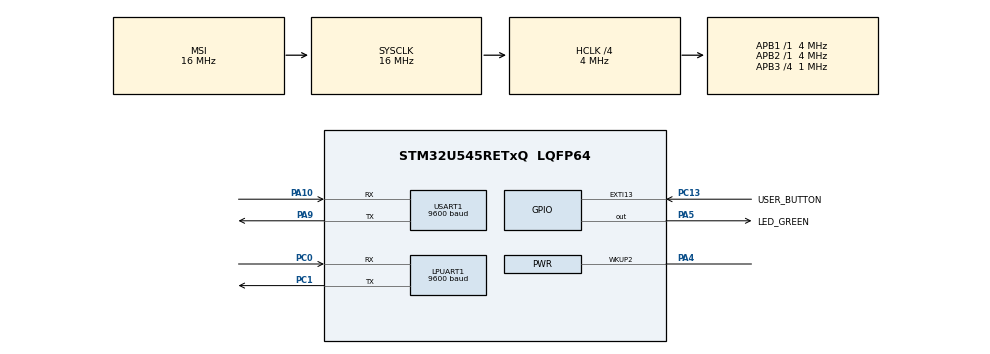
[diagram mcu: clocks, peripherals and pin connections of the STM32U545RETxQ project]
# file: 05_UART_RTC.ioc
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ADC1.Channel-0\#ChannelRegularConversion=ADC_CHANNEL_TEMPSENSOR
ADC1.MonitoredBy-0\#ChannelRegularConversion=__NULL
ADC1.NbrOfConversionFlag=1
ADC1.OffsetNumber-0\#ChannelRegularConversion=ADC_OFFSET_NONE
ADC1.Rank-0\#ChannelRegularConversion=1
ADC1.SamplingTime-0\#ChannelRegularConversion=ADC_SAMPLETIME_12CYCLES
ADC1.master=1
CORTEX_M33_NS.userName=CORTEX_M33
GPDMA1.IPHANDLE_GPDMACH15-SIMPLEREQUEST_GPDMACH15=__NULL
GPDMA1.REQUEST_GPDMACH15=GPDMA1_REQUEST_LPUART1_RX
LPUART1.BaudRate=9600
LPUART1.FIFOMode=UART_FIFOMODE_ENABLE
LPUART1.Mode=UART_MODE_RX
Mcu.Family=STM32U5
Mcu.Name=STM32U545RETxQ
Mcu.Package=LQFP64
NVIC.EXTI13_IRQn=true\:1\:0\:true\:false\:true\:true\:true\:true
NVIC.GPDMA1_Channel15_IRQn=true\:0\:0\:false\:false\:true\:true\:true\:true
NVIC.PWR_S3WU_IRQn=true\:0\:0\:false\:false\:true\:true\:true\:true
NVIC.PriorityGroup=NVIC_PRIORITYGROUP_4
NVIC.RTC_IRQn=true\:0\:0\:false\:false\:true\:true\:true\:true
PA10.Mode=Asynchronous
PA10.Signal=USART1_RX
PA4.Mode=WakeUp2
PA4.Signal=PWR_WKUP2
PA5.GPIO_Label=LED_GREEN
PA5.GPIO_PuPd=GPIO_PULLUP
PA5.GPIO_Speed=GPIO_SPEED_FREQ_HIGH
PA5.Signal=GPIO_Output
PA9.Mode=Asynchronous
PA9.Signal=USART1_TX
PC0.Mode=Asynchronous
PC0.Signal=LPUART1_RX
PC1.Mode=Asynchronous
PC1.Signal=LPUART1_TX
PC13.GPIO_Label=USER_BUTTON
PC13.GPIO_ModeDefaultEXTI=GPIO_MODE_IT_FALLING
PC13.Signal=GPXTI13
PC14-OSC32_IN\ (PC14).Mode=LSE-External-Oscillator
PC14-OSC32_IN\ (PC14).Signal=RCC_OSC32_IN
PC15-OSC32_OUT\ (PC15).Mode=LSE-External-Oscillator
PC15-OSC32_OUT\ (PC15).Signal=RCC_OSC32_OUT
PWR.PowerMode=PWR_SMPS_SUPPLY
ProjectManager.HeapSize=0x200
ProjectManager.StackSize=0x400
ProjectManager.TargetToolchain=STM32CubeIDE
RCC.ADCFreq_Value=16000000
RCC.AHBCLKDivider=RCC_SYSCLK_DIV4
RCC.AHBFreq_Value=4000000
RCC.APB1Freq_Value=4000000
RCC.APB1TimFreq_Value=4000000
RCC.APB2Freq_Value=4000000
RCC.APB2TimFreq_Value=4000000
RCC.APB3CLKDivider=RCC_HCLK_DIV4
RCC.APB3Freq_Value=1000000
RCC.CortexFreq_Value=4000000
RCC.DACCLockSelectionVirtual=RCC_DAC1CLKSOURCE_LSI
RCC.DACCLockSelectionVirtualString=RCC_DAC1CLKSOURCE_LSI
RCC.EPOD_VALUE=16000000
RCC.HCLKFreq_Value=4000000
RCC.HSE_VALUE=16000000
RCC.HSI48_VALUE=48000000
RCC.HSI_VALUE=16000000
RCC.LSIDIV_VALUE=32000
RCC.MSIClockRange=RCC_MSIRANGE_2
RCC.MSI_VALUE=16000000
RCC.PLL1R=1
RCC.PLLFRACN=0
RCC.PLLM=3
RCC.PLLN=8
RCC.RTCClockSelection=RCC_RTCCLKSOURCE_LSE
RCC.SYSCLKFreq_VALUE=16000000
RCC.USBFreq_Value=48000000
RCC.VCOOutputFreq_Value=42666666.666666664
RTC.Alarm-Alarm\ A=RTC_ALARM_A
RTC.AlarmMaskDateWeekDay-Alarm\ A=RTC_ALARMMASK_DATEWEEKDAY
RTC.AlarmMaskHours-Alarm\ A=RTC_ALARMMASK_HOURS
RTC.AlarmMaskMinutes-Alarm\ A=RTC_ALARMMASK_MINUTES
RTC.BinMode=RTC_BINARY_NONE
RTC.Date=26
RTC.Format=RTC_FORMAT_BIN
RTC.Hours=16
RTC.Minutes=30
RTC.Month=RTC_MONTH_JUNE
RTC.Seconds_A-Alarm\ A=15
RTC.WeekDay=RTC_WEEKDAY_WEDNESDAY
RTC.Year=24
RTC.rtcPrivilegeFull=RTC_PRIVILEGE_FULL_YES
USART1.BaudRate=9600
USART1.FIFOMode=FIFOMODE_ENABLE
USART1.VirtualMode-Asynchronous=VM_ASYNC
VP_ADC1_TempSens_Input.Mode=IN-TempSens
VP_GPDMA1_VS_GPDMACH15.Mode=SIMPLEREQUEST_GPDMACH15
VP_ICACHE_VS_ICACHE.Mode=DirectMappedCache
VP_LPBAMQUEUE_VS_QUEUE.Mode=QUEUEMODE
VP_LPBAM_VS_SIG1.Mode=SmartRun
VP_LPBAM_VS_SIG4.Mode=LPDMA1
VP_MEMORYMAP_VS_MEMORYMAP.Mode=CurAppReg
VP_PWR_VS_DBSignals.Mode=DisableDeadBatterySignals
VP_PWR_VS_LPOM.Mode=PowerOptimisation
VP_PWR_VS_SECSignals.Mode=Security/Privilege
VP_PWR_Vdda.Mode=isolationVdda
VP_RTC_VS_RTC_Activate.Mode=RTC_Enabled
VP_RTC_VS_RTC_Alarm_A_Intern.Mode=Alarm A
VP_RTC_VS_RTC_Calendar.Mode=RTC_Calendar
board=NUCLEO-U545RE-Q

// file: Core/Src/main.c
/* USER CODE BEGIN Header */
/**
  ******************************************************************************
  * @file           : main.c
  * @brief          : Main program body
  ******************************************************************************
  * @attention
  *
  * Copyright (c) 2024 STMicroelectronics.
  * All rights reserved.
  *
  * This software is licensed under terms that can be found in the LICENSE file
  * in the root directory of this software component.
  * If no LICENSE file comes with this software, it is provided AS-IS.
  *
  ******************************************************************************
  */
/* USER CODE END Header */
#include "main.h"
#include "adc.h"
#include "gpdma.h"
#include "icache.h"
#include "usart.h"
#include "memorymap.h"
#include "rtc.h"
#include "gpio.h"

void SystemClock_Config(void);
static void SystemPower_Config(void);
/* USER CODE BEGIN PFP */
void Enter_Shutdown_Mode(void) {
	// Ensure all wakeup flags are cleared
	PWR->WUSCR |= PWR_WUSCR_CWUF;

	// Enable Wakeup pin (WKUP1) as wakeup source
	PWR->WUCR1 |= PWR_WAKEUP_PIN2_HIGH_1;

	// Select Shutdown mode in power control register
	PWR->CR1 &= ~PWR_CR1_LPMS;
	PWR->CR1 |= (0b11 << PWR_CR1_LPMS_Pos);

	// Set the SLEEPDEEP bit in Cortex System Control Register
	SCB->SCR |= SCB_SCR_SLEEPDEEP_Msk;

	// Request Wait For Interrupt
	__WFI();
}
/* USER CODE END PFP */

int main(void)
{

  /* MCU Configuration--------------------------------------------------------*/

  /* Reset of all peripherals, Initializes the Flash interface and the Systick. */
  HAL_Init();

  /* Configure the system clock */
  SystemClock_Config();

  /* Configure the System Power */
  SystemPower_Config();

  /* Initialize all configured peripherals */
  MX_GPIO_Init();
  MX_GPDMA1_Init();
  MX_ICACHE_Init();
  MX_LPUART1_UART_Init();
  MX_USART1_UART_Init();
  MX_ADC1_Init();
  MX_RTC_Init();
  /* USER CODE BEGIN 2 */
	HAL_GPIO_WritePin(LED_GREEN_GPIO_Port, LED_GREEN_Pin, 1);
	HAL_Delay(100);
	HAL_GPIO_WritePin(LED_GREEN_GPIO_Port, LED_GREEN_Pin, 0);
	HAL_Delay(100);
  /* USER CODE END 2 */

  /* Infinite loop */
  while (1)
  {

    /* USER CODE BEGIN 3 */
	HAL_GPIO_WritePin(LED_GREEN_GPIO_Port, LED_GREEN_Pin, 1);
	HAL_Delay(100);
	HAL_GPIO_WritePin(LED_GREEN_GPIO_Port, LED_GREEN_Pin, 0);
	HAL_Delay(100);
	HAL_GPIO_WritePin(LED_GREEN_GPIO_Port, LED_GREEN_Pin, 1);
	HAL_Delay(100);
	HAL_GPIO_WritePin(LED_GREEN_GPIO_Port, LED_GREEN_Pin, 0);
	HAL_Delay(100);
	HAL_GPIO_WritePin(LED_GREEN_GPIO_Port, LED_GREEN_Pin, 1);
	HAL_Delay(100);
	HAL_GPIO_WritePin(LED_GREEN_GPIO_Port, LED_GREEN_Pin, 0);
	HAL_Delay(100);
	printf("Going to Shutdown Mode\r\n");
	HAL_Delay(1000);
	HAL_SuspendTick();
	Enter_Shutdown_Mode();
//	HAL_ResumeTick();
//	HAL_Delay(100);
	SystemClock_Config();
	HAL_Delay(100);
	SystemPower_Config();
	HAL_Delay(1000);
  }
  /* USER CODE END 3 */
}

void SystemClock_Config(void)
{
  RCC_OscInitTypeDef RCC_OscInitStruct = {0};
  RCC_ClkInitTypeDef RCC_ClkInitStruct = {0};

  /** Configure the main internal regulator output voltage
  */
  if (HAL_PWREx_ControlVoltageScaling(PWR_REGULATOR_VOLTAGE_SCALE4) != HAL_OK)
  {
    Error_Handler();
  }

  /** Configure LSE Drive Capability
  */
  HAL_PWR_EnableBkUpAccess();
  __HAL_RCC_LSEDRIVE_CONFIG(RCC_LSEDRIVE_LOW);

  /** Initializes the CPU, AHB and APB buses clocks
  */
  RCC_OscInitStruct.OscillatorType = RCC_OSCILLATORTYPE_HSI|RCC_OSCILLATORTYPE_LSE
                              |RCC_OSCILLATORTYPE_MSI;
  RCC_OscInitStruct.LSEState = RCC_LSE_ON;
  RCC_OscInitStruct.HSIState = RCC_HSI_ON;
  RCC_OscInitStruct.HSICalibrationValue = RCC_HSICALIBRATION_DEFAULT;
  RCC_OscInitStruct.MSIState = RCC_MSI_ON;
  RCC_OscInitStruct.MSICalibrationValue = RCC_MSICALIBRATION_DEFAULT;
  RCC_OscInitStruct.MSIClockRange = RCC_MSIRANGE_2;
  RCC_OscInitStruct.PLL.PLLState = RCC_PLL_NONE;
  if (HAL_RCC_OscConfig(&RCC_OscInitStruct) != HAL_OK)
  {
    Error_Handler();
  }

  /** Initializes the CPU, AHB and APB buses clocks
  */
  RCC_ClkInitStruct.ClockType = RCC_CLOCKTYPE_HCLK|RCC_CLOCKTYPE_SYSCLK
                              |RCC_CLOCKTYPE_PCLK1|RCC_CLOCKTYPE_PCLK2
                              |RCC_CLOCKTYPE_PCLK3;
  RCC_ClkInitStruct.SYSCLKSource = RCC_SYSCLKSOURCE_MSI;
  RCC_ClkInitStruct.AHBCLKDivider = RCC_SYSCLK_DIV4;
  RCC_ClkInitStruct.APB1CLKDivider = RCC_HCLK_DIV1;
  RCC_ClkInitStruct.APB2CLKDivider = RCC_HCLK_DIV1;
  RCC_ClkInitStruct.APB3CLKDivider = RCC_HCLK_DIV4;

  if (HAL_RCC_ClockConfig(&RCC_ClkInitStruct, FLASH_LATENCY_0) != HAL_OK)
  {
    Error_Handler();
  }
}

/**
  * @brief Power Configuration
  * @retval None
  */
static void SystemPower_Config(void)
{

  /*
   * Switch to SMPS regulator instead of LDO
   */
  if (HAL_PWREx_ConfigSupply(PWR_SMPS_SUPPLY) != HAL_OK)
  {
    Error_Handler();
  }
  /* PWR_S3WU_IRQn interrupt configuration */
  HAL_NVIC_SetPriority(PWR_S3WU_IRQn, 0, 0);
  HAL_NVIC_EnableIRQ(PWR_S3WU_IRQn);
}

/* USER CODE BEGIN 4 */
void HAL_RTC_AlarmAEventCallback(RTC_HandleTypeDef *hrtc) {
	RTC_AlarmTypeDef sAlarm;
	RTC_TimeTypeDef sTime;
	RTC_DateTypeDef sDate;
	__HAL_RTC_ALARM_CLEAR_FLAG(&hrtc, RTC_FLAG_WUTF);
	printf("Wake up from RTC\r\n");
	HAL_RTC_GetAlarm(hrtc, &sAlarm, RTC_ALARM_A, FORMAT_BIN);
	HAL_RTC_GetTime(hrtc, &sTime, RTC_FORMAT_BIN);
	HAL_RTC_GetDate(hrtc, &sDate, RTC_FORMAT_BIN);
	printf("Time: %d %d %d\r\n", sTime.Hours, sTime.Minutes, sTime.Seconds);
	if (sAlarm.AlarmTime.Seconds > 44) {
		sAlarm.AlarmTime.Seconds = (sAlarm.AlarmTime.Seconds + 15) % 60;
		sAlarm.AlarmTime.Minutes = (sAlarm.AlarmTime.Minutes + 1) % 60;
		if (sAlarm.AlarmTime.Minutes == 0) {
			sAlarm.AlarmTime.Hours = (sAlarm.AlarmTime.Hours + 1) % 24;
		}
	} else {
		sAlarm.AlarmTime.Seconds += 15;
	}
	while (HAL_RTC_SetAlarm_IT(hrtc, &sAlarm, FORMAT_BIN) != HAL_OK) {
	}
//	HAL_ResumeTick();
}
/* USER CODE END 4 */

void Error_Handler(void)
{
  __disable_irq();
  while (1)
  {
  }
}
